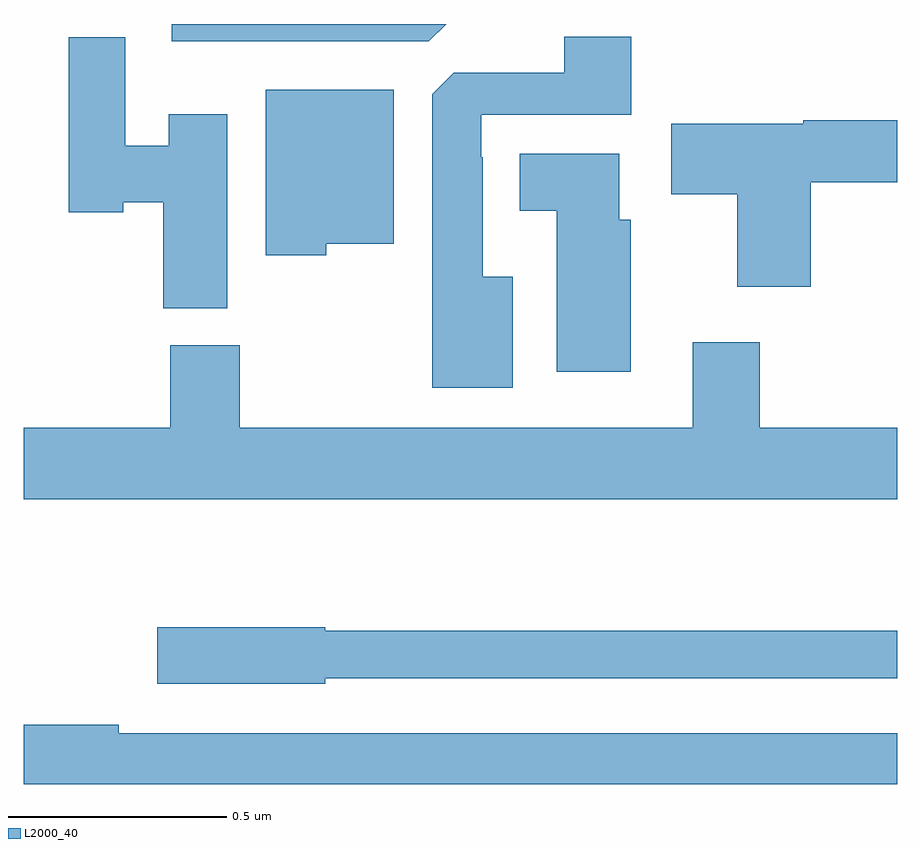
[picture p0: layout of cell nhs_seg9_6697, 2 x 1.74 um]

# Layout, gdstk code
import gdstk
lib = gdstk.Library(unit=1e-6, precision=1e-09)
def P(c, l, *ps):  # polygons
    for p in ps: c.add(gdstk.Polygon(p, *l))
L2000_40 = (2000, 40)

nhs_seg9_6697 = lib.new_cell('nhs_seg9_6697')
P(nhs_seg9_6697, L2000_40, [(195.967,1205.5),(195.339,1205.5),(195.339,1205.46),(195.927,1205.46)],
  [(196.12,1204.921),(196.051,1204.921),(196.051,1205.195),(196.047,1205.195),(196.047,1205.292),(196.391,1205.292),(196.391,1205.471),(196.238,1205.471),(196.238,1205.388),(195.984,1205.388),(195.935,1205.339),(195.935,1204.667),(196.12,1204.667)],
  [(195.466,1205.293),(195.332,1205.293),(195.332,1205.221),(195.232,1205.221),(195.232,1205.47),(195.103,1205.47),(195.103,1205.069),(195.228,1205.069),(195.228,1205.092),(195.32,1205.092),(195.32,1204.849),(195.466,1204.849)],
  [(195.693,1204.997),(195.847,1204.997),(195.847,1205.35),(195.554,1205.35),(195.554,1204.97),(195.693,1204.97)],
  [(196.802,1205.138),(197,1205.138),(197,1205.28),(196.785,1205.28),(196.785,1205.272),(196.482,1205.272),(196.482,1205.11),(196.634,1205.11),(196.634,1204.899),(196.802,1204.899)],
  [(196.39,1205.052),(196.363,1205.052),(196.363,1205.203),(196.136,1205.203),(196.136,1205.072),(196.22,1205.072),(196.22,1204.704),(196.39,1204.704)],
  [(197,1204.576),(196.685,1204.576),(196.685,1204.771),(196.532,1204.771),(196.532,1204.576),(195.495,1204.576),(195.495,1204.764),(195.335,1204.764),(195.335,1204.576),(195,1204.576),(195,1204.412),(197,1204.412)],
  [(195.69,1204.002),(197,1204.002),(197,1204.111),(195.69,1204.111),(195.69,1204.119),(195.306,1204.119),(195.306,1203.989),(195.69,1203.989)],
  [(197,1203.876),(195.218,1203.876),(195.218,1203.896),(195,1203.896),(195,1203.76),(197,1203.76)])

lib.write_gds('nhs_seg9_6697.gds')
